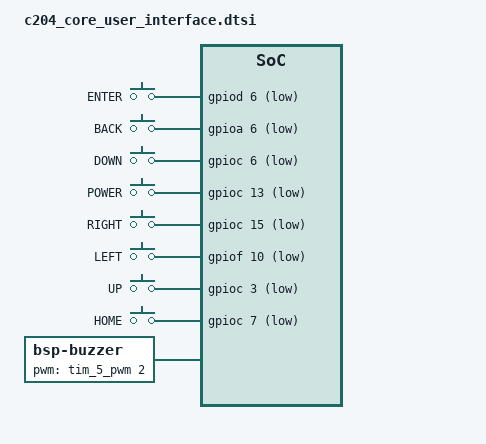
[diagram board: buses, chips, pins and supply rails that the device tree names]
/*
 * Copyright (c) 2022 Acme CPU
 *
 */

/*
	Note:
	All of the switches cannot have an interrupt because of limited number of EXTI IRQn of STM32G4
	see reference manual section 15.4:
		the Pn0 are grouped to EXTI0, similarly Pn1 are grouped to EXTI1 and so on.
		That means if PD6 is configured are an EXTI6 interrupt, we cannot configure PA6 as
		that EXTI lie is already used and we will bet a -EBUSY (-16) error number
		
	A solution to this will be to have EXTI on one switch, i.e. power and needs should be polled
*/


&c204 {
	keypad {
		compatible = "gpio-keys";
			
	    switch_1: switch_1 {
	      gpios = <&gpiod 6 (GPIO_PULL_UP | GPIO_ACTIVE_LOW)>;
	      label = "ENTER";
	    };
	
	    switch_2: switch_2 {
	      gpios = <&gpioa 6 (GPIO_PULL_UP | GPIO_ACTIVE_LOW)>;
	      label = "BACK";
	    };
	
	    switch_3: switch_3 {
	      /*gpios = <&gpioc 6 (GPIO_INPUT | GPIO_INT_LEVEL_LOW)>; level trigger not supported in gpio_stm32 driver */
	      gpios = <&gpioc 6 (GPIO_PULL_UP | GPIO_ACTIVE_LOW)>;
	      label = "DOWN";
	    };
	
	    switch_4: switch_4 {
	      gpios = <&gpioc 13 (GPIO_PULL_UP | GPIO_ACTIVE_LOW)>;
	      label = "POWER";
	    };
	
	    switch_5: switch_5 {
	      /*gpios = <&gpioc 15 (GPIO_INPUT | GPIO_INT_LEVEL_LOW)>; level trigger not supported in gpio_stm32 driver */
	      gpios = <&gpioc 15 (GPIO_PULL_UP | GPIO_ACTIVE_LOW)>;
	      label = "RIGHT";
	    };
	
	    switch_6: switch_6 {
	      /*gpios = <&gpiof 10 (GPIO_INPUT | GPIO_INT_LEVEL_LOW)>; level trigger not supported in gpio_stm32 driver */
	      gpios = <&gpiof 10 (GPIO_PULL_UP | GPIO_ACTIVE_LOW)>;
	      label = "LEFT";
	    };
	
	    switch_7: switch_7 {
	      /*gpios = <&gpioc 3 (GPIO_INPUT | GPIO_INT_LEVEL_LOW)>; level trigger not supported in gpio_stm32 driver */
	      gpios = <&gpioc 3 (GPIO_PULL_UP | GPIO_ACTIVE_LOW)>;
	      label = "UP";
	    };
	
	    switch_8: switch_8 {
	      gpios = <&gpioc 7 (GPIO_PULL_UP | GPIO_ACTIVE_LOW)>;
	      label = "HOME";
	    };
	};
	
	buzz: buzzer {
		compatible = "bsp-buzzer";
		status = "okay";
		
		pwms =  <&tim_5_pwm 2 250 PWM_POLARITY_NORMAL>;	/* period given in micro seconds for 4kHz freq buzzer */
		pwm-names = "buzzer-ctrl";

		label = "BUZZER";
	};
};
